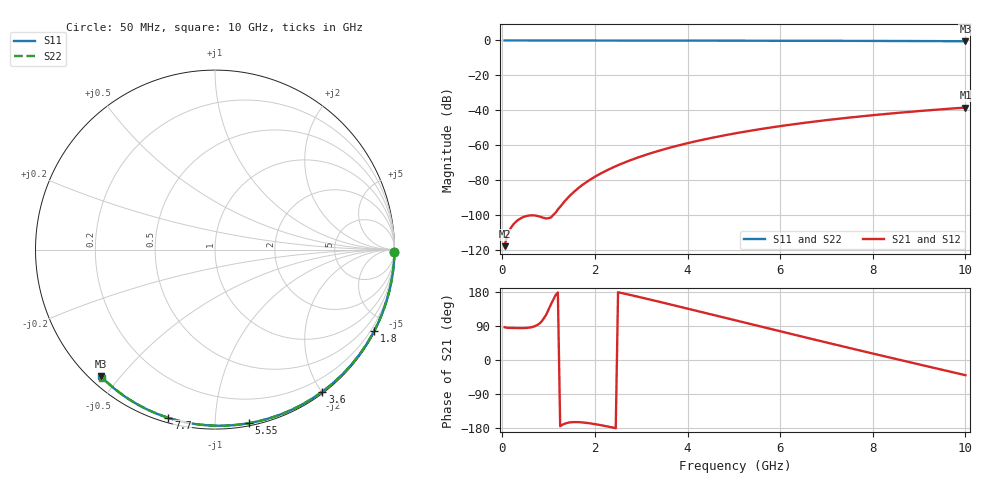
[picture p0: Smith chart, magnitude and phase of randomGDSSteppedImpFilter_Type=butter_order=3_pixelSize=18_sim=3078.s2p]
! freq	dB(S11)	phase(S11)	dB(S12)	phase(S12)
!  dB(S21)	phase(S21)	dB(S22)	phase(S22)
!S-par simulation data
#  GHz  S  DB  R 50
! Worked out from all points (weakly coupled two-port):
!   200 points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, 50 MHz to 10 GHz, reference 50 ohm
!   highest |S21| = -38.41 dB at 10 GHz (marker M1); lowest = -117.8 dB at 50 MHz (marker M2)
!   lowest |S11| = -0.4 dB at 10 GHz (marker M3), VSWR 39.07, Z = 1.53 - j22.2 ohm
!   |S11| at or under -10 dB: nowhere
!   |S22| runs from -0.4 to 0.0 dB; largest |S21 - S12| = 0
!   S11 on the Smith chart (normalised r, x): 50 MHz: open; 1.8 GHz: 0.04, -4.16; 3.6 GHz: 0.02, -2.01; 5.55 GHz: 0.02, -1.21; 7.7 GHz: 0.02, -0.76; 10 GHz: 0.03, -0.44
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0.05  -0.00 -0.8  -117.75 86.4  -117.75 86.4  -0.00 -0.8
0.9  -0.02 -13.7  -101.60 110.4  -101.60 110.4  -0.02 -13.6
1.75  -0.03 -26.3  -82.32 -165.0  -82.32 -165.0  -0.03 -26.2
1.8  -0.03 -27.1  -81.38 -165.6  -81.38 -165.6  -0.03 -26.9
1.85  -0.04 -27.8  -80.49 -166.4  -80.49 -166.4  -0.04 -27.6
1.9  -0.04 -28.5  -79.64 -167.3  -79.64 -167.3  -0.04 -28.4
2.05  -0.04 -30.7  -77.25 -170.2  -77.25 -170.2  -0.04 -30.6
2.25  -0.04 -33.7  -74.45 -174.8  -74.45 -174.8  -0.04 -33.5
2.45  -0.05 -36.6  -71.97 -179.9  -71.97 -179.9  -0.05 -36.4
2.65  -0.05 -39.4  -69.74 174.8  -69.74 174.8  -0.05 -39.2
3  -0.06 -44.5  -66.33 165.0  -66.33 165.0  -0.06 -44.2
3.4  -0.07 -50.1  -63.00 153.4  -63.00 153.4  -0.07 -49.8
3.6  -0.07 -52.9  -61.50 147.5  -61.50 147.5  -0.07 -52.6
4.3  -0.09 -62.5  -56.99 126.6  -56.99 126.6  -0.09 -62.2
5.05  -0.11 -72.5  -53.07 104.2  -53.07 104.2  -0.11 -72.1
5.55  -0.13 -79.0  -50.84 89.2  -50.84 89.2  -0.13 -78.6
6.1  -0.15 -86.0  -48.66 72.8  -48.66 72.8  -0.15 -85.6
6.7  -0.18 -93.5  -46.57 55.0  -46.57 55.0  -0.18 -93.0
7.7  -0.24 -105.5  -43.58 25.8  -43.58 25.8  -0.24 -105.0
8.35  -0.29 -113.1  -41.91 7.0  -41.91 7.0  -0.29 -112.6
9.15  -0.36 -122.4  -40.09 -15.9  -40.09 -15.9  -0.36 -121.7
10  -0.44 -132.0  -38.41 -40.0  -38.41 -40.0  -0.44 -131.3
